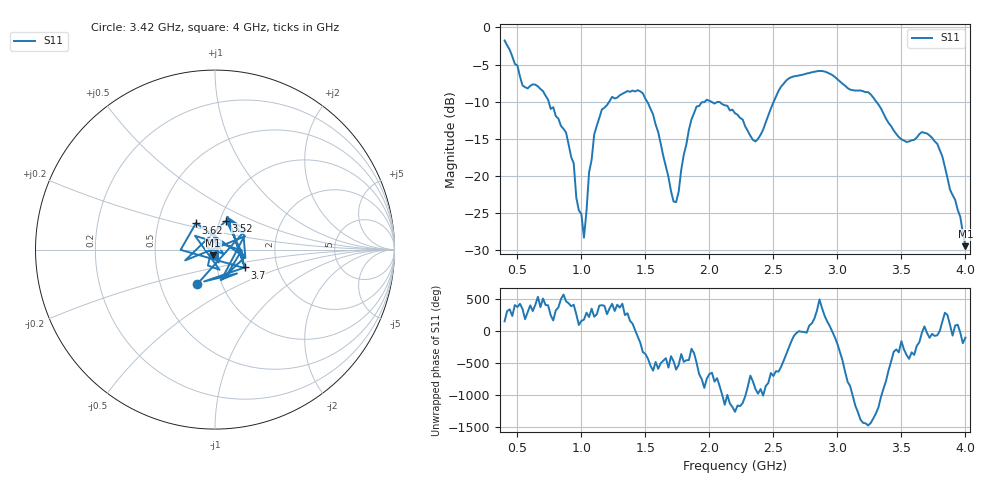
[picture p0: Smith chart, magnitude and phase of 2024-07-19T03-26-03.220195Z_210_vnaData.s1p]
!Created with skrf (http://scikit-rf.org).
# Hz S RI R 50.0
!freq ReS11 ImS11
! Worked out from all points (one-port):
!   181 points, 400 MHz to 4 GHz, reference 50 ohm
!   lowest |S11| = -29.4 dB at 4 GHz (marker M1), VSWR 1.07, Z = 49 - j3.17 ohm
!   |S11| at or under -10 dB: 744.4 MHz to 1.217 GHz (472.5 MHz wide, 48.2 % of centre); 2.015 GHz to 2.502 GHz (486.7 MHz wide, 21.5 % of centre); 3.304 GHz to end of sweep (the widest 3 of 4)
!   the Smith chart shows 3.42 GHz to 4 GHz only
!   S11 on the Smith chart (normalised r, x): 3.42 GHz: 0.77, -0.31; 3.52 GHz: 1.07, +0.36; 3.62 GHz: 0.78, +0.24; 3.7 GHz: 1.36, -0.28; 4 GHz: 0.98, -0.06
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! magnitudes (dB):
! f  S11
! 400 MHz  -1.7
! 540 MHz  -7.8
! 700 MHz  -8.6
! 860 MHz  -13.6
! 940 MHz  -18.3
! 960 MHz  -22.9
! 1.02 GHz  -28.3
! 1.06 GHz  -19.5
! 1.1 GHz  -14.4
! 1.3 GHz  -9.1
! 1.48 GHz  -8.9
! 1.6 GHz  -14.1
! 1.72 GHz  -23.4
! 1.76 GHz  -22.1
! 1.84 GHz  -13.7
! 1.9 GHz  -10.6
! 2.2 GHz  -11.5
! 2.36 GHz  -15.3
! 2.66 GHz  -6.6
! 3.1 GHz  -8.4
! 3.26 GHz  -9.0
! 3.42 GHz  -13.3
! 3.52 GHz  -15.2
! 3.56 GHz  -15.3
! 3.62 GHz  -14.8
! 3.7 GHz  -14.3
! 3.82 GHz  -17.4
! 4 GHz  -29.4
